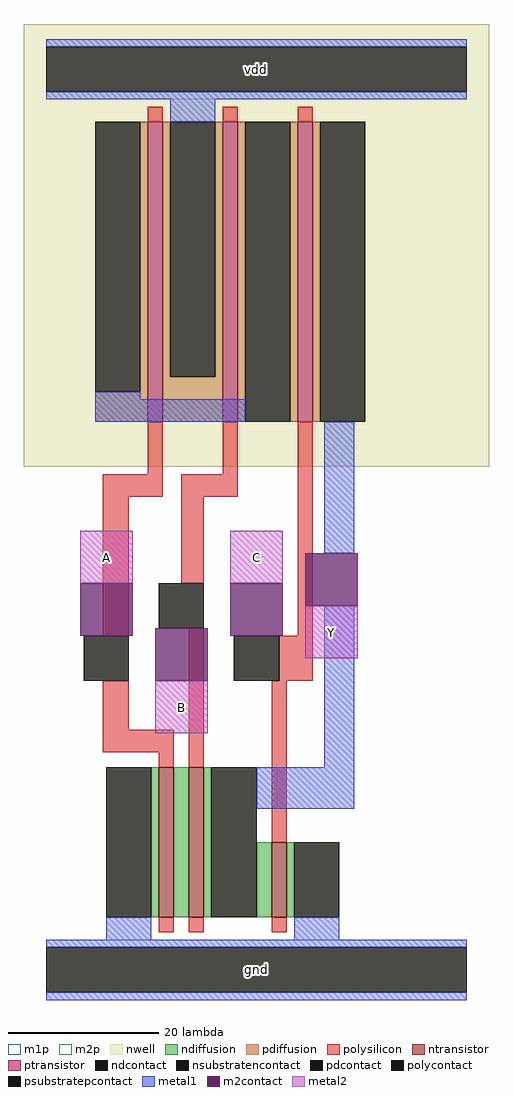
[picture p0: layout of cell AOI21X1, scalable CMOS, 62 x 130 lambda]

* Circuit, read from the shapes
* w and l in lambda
.subckt AOI21X1 A B C Y vdd gnd
M1 n1 A gnd gnd nfet w=20 l=2
M2 Y B n1 gnd nfet w=20 l=2
M3 gnd C Y gnd nfet w=10 l=2
M4 vdd A n2 vdd pfet w=40 l=2
M5 n2 B vdd vdd pfet w=40 l=2
M6 Y C n2 vdd pfet w=40 l=2
.ends

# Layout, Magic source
magic
tech scmos
magscale 1 2
<< nwell >>
rect -12 134 112 252
<< ntransistor >>
rect 24 14 28 54
rect 32 14 36 54
rect 54 14 58 34
<< ptransistor >>
rect 21 146 25 226
rect 41 146 45 226
rect 61 146 65 226
<< ndiffusion >>
rect 22 14 24 54
rect 28 14 32 54
rect 36 14 38 54
rect 50 14 54 34
rect 58 14 60 34
<< pdiffusion >>
rect 19 154 21 226
rect 7 146 21 154
rect 25 158 27 226
rect 39 158 41 226
rect 25 146 41 158
rect 45 146 47 226
rect 59 146 61 226
rect 65 146 67 226
<< ndcontact >>
rect 10 14 22 54
rect 38 14 50 54
rect 60 14 72 34
<< pdcontact >>
rect 7 154 19 226
rect 27 158 39 226
rect 47 146 59 226
rect 67 146 79 226
<< psubstratepcontact >>
rect -6 -6 106 6
<< nsubstratencontact >>
rect -6 234 106 246
<< polysilicon >>
rect 21 226 25 230
rect 41 226 45 230
rect 61 226 65 230
rect 21 132 25 146
rect 41 132 45 146
rect 9 126 25 132
rect 30 126 45 132
rect 9 89 16 126
rect 30 103 36 126
rect 9 64 16 77
rect 9 58 28 64
rect 24 54 28 58
rect 32 54 36 91
rect 61 89 65 146
rect 56 77 65 89
rect 54 34 58 77
rect 24 10 28 14
rect 32 10 36 14
rect 54 10 58 14
<< polycontact >>
rect 24 91 36 103
rect 4 77 16 89
rect 44 77 56 89
<< metal1 >>
rect -6 246 106 248
rect -6 232 106 234
rect 27 226 39 232
rect 7 152 19 154
rect 7 146 47 152
rect 68 111 76 146
rect 68 54 76 97
rect 50 43 76 54
rect 10 8 22 14
rect 60 8 72 14
rect -6 6 106 8
rect -6 -8 106 -6
<< m2contact >>
rect 3 89 17 103
rect 23 77 37 91
rect 43 89 57 103
rect 63 97 77 111
<< metal2 >>
rect 3 103 17 117
rect 43 103 57 117
rect 63 83 77 97
rect 23 63 37 77
<< m1p >>
rect -6 232 106 248
rect -6 -8 106 8
<< m2p >>
rect 3 103 17 117
rect 43 103 57 117
rect 63 83 77 97
rect 23 63 37 77
<< labels >>
rlabel metal1 -6 -8 106 8 0 gnd
port 5 nsew ground bidirectional abutment
rlabel metal1 -6 232 106 248 0 vdd
port 4 nsew power bidirectional abutment
rlabel metal2 3 103 17 117 0 A
port 0 nsew signal input
rlabel metal2 23 63 37 77 0 B
port 1 nsew signal input
rlabel metal2 43 103 57 117 0 C
port 2 nsew signal input
rlabel metal2 63 83 77 97 0 Y
port 3 nsew signal output
<< properties >>
string FIXED_BBOX 0 0 100 240
string LEFclass CORE
string LEFsite core
string LEFsymmetry X Y
<< end >>
